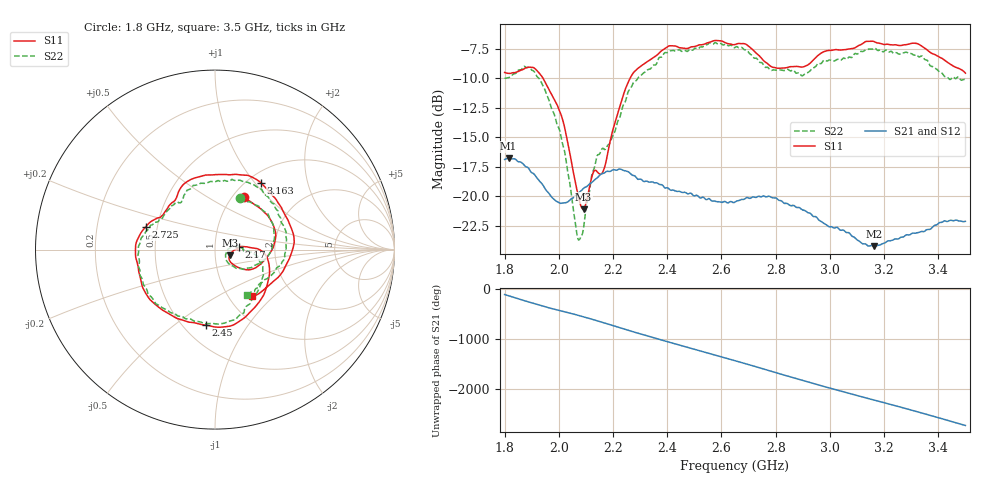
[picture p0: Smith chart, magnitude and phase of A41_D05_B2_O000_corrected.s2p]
! Created with skrf 1.9.0 (http://scikit-rf.org).
# Hz S RI R 50.0
!freq ReS11 ImS11 ReS21 ImS21 ReS12 ImS12 ReS22 ImS22
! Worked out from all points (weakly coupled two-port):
!   1601 points, 1.8 GHz to 3.5 GHz, reference 50 ohm
!   highest |S21| = -16.80 dB at 1.815 GHz (marker M1); lowest = -24.2 dB at 3.163 GHz (marker M2)
!   lowest |S11| = -21.1 dB at 2.091 GHz (marker M3), VSWR 1.19, Z = 58.8 - j3.78 ohm
!   |S11| at or under -10 dB: 1.942 GHz to 2.263 GHz (321.2 MHz wide, 15.3 % of centre)
!   |S22| runs from -23.7 to -7.0 dB; largest |S21 - S12| = 0.0023
!   S11 on the Smith chart (normalised r, x): 1.8 GHz: 1.12, +0.74; 2.17 GHz: 1.31, +0.04; 2.45 GHz: 0.64, -0.66; 2.725 GHz: 0.43, +0.13; 3.163 GHz: 1.15, +1.08; 3.5 GHz: 1.28, -0.75
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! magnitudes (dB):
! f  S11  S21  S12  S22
! 1.8 GHz  -9.5  -16.9  -16.9  -10.0
! 1.815 GHz  -9.6  -16.8  -16.8  -10.0
! 1.885 GHz  -9.1  -17.6  -17.6  -9.1
! 1.942 GHz  -10.0  -19.1  -19.1  -10.7
! 2.013 GHz  -13.4  -20.6  -20.6  -15.4
! 2.066 GHz  -19.3  -19.8  -19.8  -23.0
! 2.084 GHz  -21.0  -19.5  -19.5  -23.4
! 2.091 GHz  -21.1  -19.3  -19.4  -22.7
! 2.131 GHz  -17.8  -18.6  -18.6  -17.6
! 2.17 GHz  -17.5  -18.0  -18.0  -16.0
! 2.205 GHz  -13.9  -17.8  -17.8  -14.6
! 2.259 GHz  -10.2  -18.0  -18.0  -11.0
! 2.367 GHz  -7.9  -18.9  -18.9  -8.4
! 2.45 GHz  -7.4  -19.6  -19.6  -7.7
! 2.65 GHz  -7.1  -20.5  -20.5  -7.4
! 2.725 GHz  -7.8  -20.1  -20.1  -8.3
! 2.803 GHz  -9.1  -20.2  -20.2  -9.3
! 2.934 GHz  -8.6  -21.6  -21.5  -9.2
! 3.163 GHz  -6.9  -24.2  -24.2  -7.4
! 3.217 GHz  -7.1  -23.8  -23.7  -7.8
! 3.324 GHz  -7.1  -23.1  -23.0  -8.1
! 3.5 GHz  -9.6  -22.1  -22.1  -10.2
